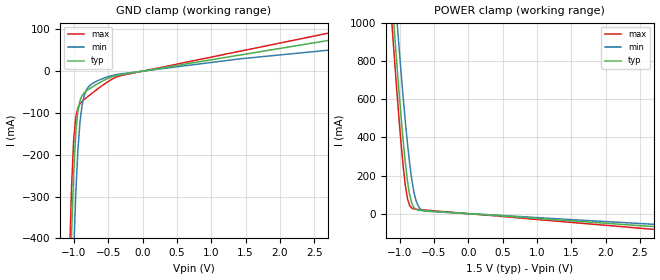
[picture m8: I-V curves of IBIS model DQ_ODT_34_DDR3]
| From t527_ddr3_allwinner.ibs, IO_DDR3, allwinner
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|   Model DQ_ODT_34_DDR3
[Model] DQ_ODT_34_DDR3
Model_type Input
Polarity   Non-Inverting
Enable   Active-High
Vinl =  0.750V
Vinh =  0.750V
C_comp   1.469pF   1.433pF   1.517pF
C_comp_power_clamp   0.441pF   0.424pF   0.463pF
C_comp_gnd_clamp   0.764pF   0.743pF   0.793pF
[Model Spec]
Vinh   0.750V   0.712V   0.787V
Vinl   0.750V   0.712V   0.787V
[Temperature Range]   25.000   0.125k   -40.000
[Voltage Range]   1.500V   1.425V   1.575V
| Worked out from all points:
|   GND clamp passes 1 mA (typ) near -0.04 V on its own axis
|   POWER clamp passes 1 mA (typ) near -0.04 V on its own axis
[GND_clamp]
|Voltage   I(typ)   I(min)   I(max)
-1.5V     -3.55A     -3.632A    -3.532A
-1.066V   -587.6mA   -815.4mA   -461mA
-1.035V   -396.3mA   -615.5mA   -282.8mA
-1.004V   -247.1mA   -439.4mA   -166.8mA
-973mV    -149mA     -295.9mA   -110.3mA
-942mV    -95.7mA    -190.5mA   -87.77mA
-911mV    -70.28mA   -121.5mA   -78.08mA
-880mV    -58.19mA   -80.68mA   -72.38mA
-818mV    -47.12mA   -45.09mA   -63.63mA
-725mV    -37.03mA   -29.11mA   -51.53mA
-322mV    -8.737mA   -6.673mA   -10.8mA
3V        81.4mA     54.74mA    100.7mA
[POWER_clamp]
|Voltage   I(typ)   I(min)   I(max)
-1.5V     3.133A     3.327A     3.025A
-1.135V   1.242A     1.47A      1.106A
-1.104V   1.088A     1.319A     949.3mA
-1.073V   937.1mA    1.169A     795.7mA
-1.042V   789.3mA    1.023A     646.3mA
-1.011V   646.2mA    880.3mA    502.8mA
-918mV    267.7mA    484.3mA    147.6mA
-887mV    171.7mA    369.2mA    78.84mA
-825mV    55.35mA    181.3mA    29.45mA
-732mV    18.38mA    41.28mA    22.32mA
-639mV    16.04mA    13.43mA    19.48mA
3V        -75.31mA   -61.78mA   -91.47mA
